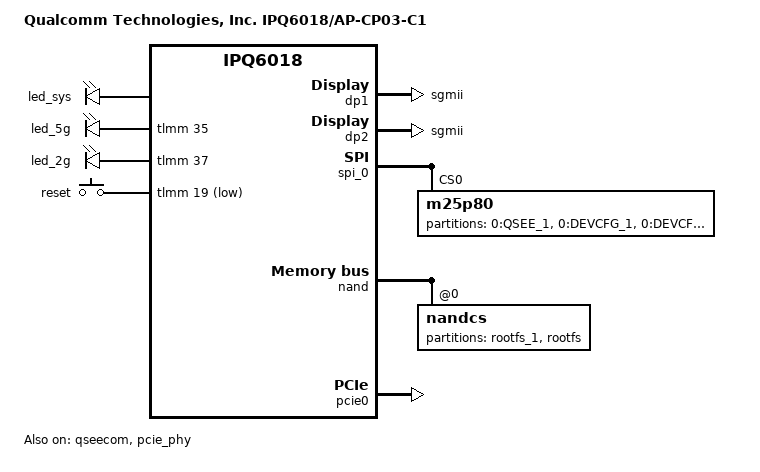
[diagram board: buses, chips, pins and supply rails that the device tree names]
// SPDX-License-Identifier: GPL-2.0-or-later OR MIT
// Copyright (c) 2021 AmadeusGhost <amadeus@jmu.edu.cn>

//#include "qcom-ipq6018-glinet.dtsi"
#include "qcom-ipq6018-cp03-c1.dts"

/ {
	model = "Qualcomm Technologies, Inc. IPQ6018/AP-CP03-C1";
	compatible = "qcom,ipq6018-cp03\0qcom,ipq6018";
	
	qcom,msm-id = <0x192 0x00>;

	aliases {
		ethernet0 = "/soc/dp1";
		ethernet1 = "/soc/dp2";
	};
	
	pmu {
		compatible = "arm,armv8-pmuv3";
	};	
	
	reserved-memory {
		tzapp:tzapp@49B00000 {  /* TZAPPS */
			no-map;
			reg = <0x0 0x49B00000 0x0 0x00600000>;
		};
	};
	
};

&soc {
	ess-switch@3a000000 {
		switch_cpu_bmp = <0x1>;  /* cpu port bitmap */
		switch_lan_bmp = <0x10>; /* lan port bitmap */
		switch_wan_bmp = <0x20>; /* wan port bitmap */
		switch_inner_bmp = <0x80>;
		switch_mac_mode = <0x00>;
		switch_mac_mode1 = <0xff>;
		switch_mac_mode2 = <0xff>;

		
		qcom,port_phyinfo {
			port@3 {
				port_id = <0x04>;
				phy_address = <0x03>;
			};

			port@4 {
				port_id = <0x05>;
				phy_address = <0x04>;
			};				
		};
	};
	
	leds {
		pinctrl-0 = <&leds_pins>;
		compatible = "gpio-leds";
		pinctrl-names = "default";

		led@32 {
			gpio = <&tlmm 32 GPIO_ACTIVE_HIGH>;
			label = "led_sys";
			default-state = "on";
			linux,default-trigger = "led_sys";
		};

		led@35 {
			gpios = <&tlmm 35 GPIO_ACTIVE_HIGH>;
			label = "led_5g";
			default-state = "off";
			linux,default-trigger = "led_5g";
		};

		led@37 {
			gpios = <&tlmm 37 GPIO_ACTIVE_HIGH>;
			label = "led_2g";
			default-state = "off";
			linux,default-trigger = "led_2g";
		};
	};		
	
	dp1 {
		reg = <0x3a001600 0x200>;
		qcom,phy-mdio-addr = <0x03>;
		qcom,link-poll = <0x01>;
		compatible = "qcom,nss-dp";
		local-mac-address = [44 d1 fa bc 0e 5c];
		phy-mode = "sgmii";
		device_type = "network";
		qcom,mactype = <0x00>;
		qcom,id = <0x04>;
	};

	dp2 {
		reg = <0x3a001800 0x200>;
		qcom,phy-mdio-addr = <0x04>;
		qcom,link-poll = <0x01>;
		compatible = "qcom,nss-dp";
		local-mac-address = [44 d1 fa bc 0e 5d];
		phy-mode = "sgmii";
		device_type = "network";
		qcom,mactype = <0x00>;
		qcom,id = <0x05>;
	};
	
	gpio_keys {
		pinctrl-0 = <&button_pins>;
		compatible = "gpio-keys";
		pinctrl-names = "default";

		reset {
			gpios = <&tlmm 19 GPIO_ACTIVE_LOW>;
			label = "reset";
			debounce-interval = <0x3c>;
			linux,code = <0x74>;
			linux,input-type = <0x01>;
		};	
	};

};


&spi_0 {
	pinctrl-0 = <&spi_0_pins>;
	pinctrl-names = "default";
	status = "ok";
	
	m25p80@0 {
		#address-cells = <1>;
		#size-cells = <1>;
		reg = <0>;
		density = <0x1000000>;
		
		sector-size = <0x10000>;

		partition@110000 {
			reg = <0x110000 0x1a0000>;
			label = "0:QSEE_1";
		};

		partition@450000 {
			reg = <0x450000 0x10000>;
			label = "0:DEVCFG_1";
		};

		partition@460000 {
			reg = <0x460000 0x10000>;
			label = "0:DEVCFG";
		};

		partition@470000 {
			reg = <0x470000 0x40000>;
			label = "0:RPM_1";
		};

		partition@500000 {
			reg = <0x500000 0x10000>;
			label = "0:CDT";
		};

		partition@510000 {
			reg = <0x510000 0x10000>;
			label = "0:APPSBLENV";
		};

		partition@520000 {
			reg = <0x520000 0xa0000>;
			label = "0:APPSBL_1";
		};

		partition@660000 {
			reg = <0x660000 0x40000>;
			label = "0:ART";
		};

		partition@2b0000 {
			reg = <0x2b0000 0x1a0000>;
			label = "0:QSEE";
		};

		partition@4b0000 {
			reg = <0x4b0000 0x40000>;
			label = "0:RPM";
		};

		partition@4f0000 {
			reg = <0x4f0000 0x10000>;
			label = "0:CDT_1";
		};

		partition@5c0000 {
			reg = <0x5c0000 0xa0000>;
			label = "0:APPSBL";
		};

		partition@0 {
			reg = <0x00 0xc0000>;
			label = "0:SBL1";
		};

		partition@c0000 {
			reg = <0xc0000 0x10000>;
			label = "0:MIBIB";
		};

		partition@d0000 {
			reg = <0xd0000 0x20000>;
			label = "0:BOOTCONFIG";
		};

		partition@f0000 {
			reg = <0xf0000 0x20000>;
			label = "0:BOOTCONFIG1";
		};
	};
};


		
&leds_pins {

	led_sys {
		pins = "gpio32";
		function = "gpio";
		drive-strength = <0x08>;
		bias-pull-down;
	};

	led_2g {
		pins = "gpio37";
		function = "gpio";
		drive-strength = <0x08>;
		bias-pull-down;
	};

	led_5g {
		pins = "gpio35";
		function = "gpio";
		drive-strength = <0x08>;
		bias-pull-down;
	};
};
		

&spi_0_pins {
	pins = "gpio38", "gpio39", "gpio40", "gpio41";
	function = "blsp0_spi";
	drive-strength = <8>;
	bias-pull-down;
};				

&button_pins {

	reset_button {
		pins = "gpio19";
		function = "gpio";
		drive-strength = <0x08>;
		bias-pull-down;
	};
};

&nand {
	pinctrl-0 = <&qpic_pins>;
	pinctrl-names = "default";
	status = "ok";
	nandcs@0 {	
		partition@0 {
			reg = <0x00 0x3c00000>;
			label = "rootfs_1";
		};

		partition@3c00000 {
			reg = <0x3c00000 0x3c00000>;
			label = "rootfs";
		};	
	};
};


&qseecom {
	mem-start = <0x49b00000>;
	status = "ok";
	mem-size = <0x600000>;
};


&pcie_phy {
	status = "ok";
};

&pcie0 {
	status = "ok";
};


&q6_region {
	no-map;
	reg = <0x00 0x4ab00000 0x00 0x5500000>;
};
